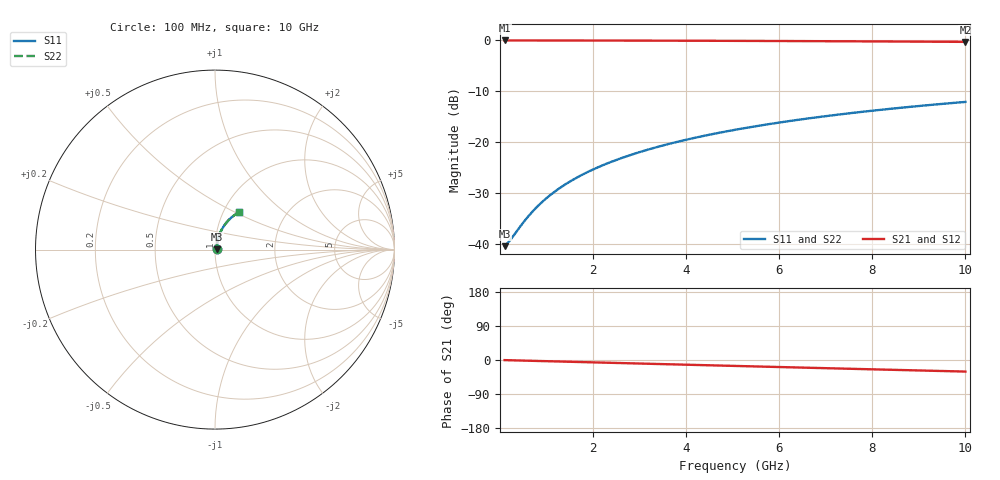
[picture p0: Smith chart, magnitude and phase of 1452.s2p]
# Hz S RI R 50.00
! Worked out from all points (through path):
!   100 points, 100 MHz to 10 GHz, reference 50 ohm
!   highest |S21| = -0.08 dB at 100 MHz (marker M1); lowest = -0.4 dB at 10 GHz (marker M2)
!   group delay of S21, straight-line fit = 8.5 ps
!   lowest |S11| = -40.5 dB at 100 MHz (marker M3), VSWR 1.02, Z = 50.9 + j0.264 ohm
!   |S11| at or under -10 dB: start of sweep to end of sweep
!   |S22| runs from -40.5 to -12.2 dB; largest |S21 - S12| = 0
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1e8  0.00907 0.00259  0.9909 -0.00538  0.9909 -0.00538  0.00907 0.00259
2e8  0.00917 0.00518  0.9908 -0.0108  0.9908 -0.0108  0.00917 0.00518
5e8  0.00957 0.0129  0.9903 -0.0269  0.9903 -0.0269  0.00957 0.0129
6e8  0.00975 0.0155  0.9901 -0.0323  0.9901 -0.0323  0.00975 0.0155
7e8  0.00996 0.0181  0.9898 -0.0377  0.9898 -0.0377  0.00996 0.0181
9e8  0.0104 0.0232  0.9892 -0.0484  0.9892 -0.0484  0.0104 0.0232
1.1e9  0.011 0.0284  0.9885 -0.0591  0.9885 -0.0591  0.011 0.0284
1.3e9  0.0117 0.0335  0.9876 -0.0698  0.9876 -0.0698  0.0117 0.0335
1.5e9  0.0126 0.0386  0.9865 -0.0805  0.9865 -0.0805  0.0126 0.0386
1.8e9  0.014 0.0462  0.9847 -0.0965  0.9847 -0.0965  0.014 0.0462
2.1e9  0.0157 0.0538  0.9826 -0.1125  0.9826 -0.1125  0.0157 0.0538
2.5e9  0.0182 0.0638  0.9792 -0.1336  0.9792 -0.1336  0.0182 0.0638
2.9e9  0.0213 0.0736  0.9754 -0.1547  0.9754 -0.1547  0.0213 0.0736
3.4e9  0.0256 0.0857  0.9697 -0.1807  0.9697 -0.1807  0.0256 0.0857
3.8e9  0.0296 0.0952  0.9646 -0.2014  0.9646 -0.2014  0.0296 0.0952
4.2e9  0.0339 0.1044  0.959 -0.2219  0.959 -0.2219  0.0339 0.1044
5.1e9  0.0451 0.1245  0.9445 -0.2671  0.9445 -0.2671  0.0451 0.1245
5.9e9  0.0565 0.1413  0.9296 -0.3063  0.9296 -0.3063  0.0565 0.1413
6.7e9  0.0693 0.1569  0.9127 -0.3444  0.9127 -0.3444  0.0693 0.1569
7.5e9  0.0832 0.1713  0.8942 -0.3812  0.8942 -0.3812  0.0832 0.1713
8.4e9  0.1002 0.186  0.8714 -0.4211  0.8714 -0.4211  0.1002 0.186
1e10  0.1331 0.2076  0.8264 -0.4876  0.8264 -0.4876  0.1331 0.2076
